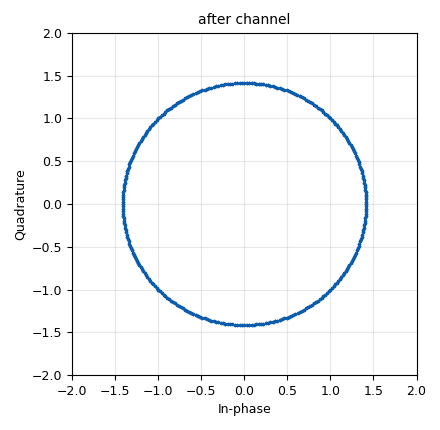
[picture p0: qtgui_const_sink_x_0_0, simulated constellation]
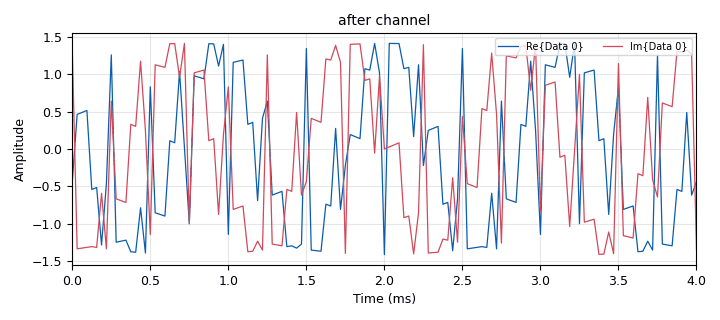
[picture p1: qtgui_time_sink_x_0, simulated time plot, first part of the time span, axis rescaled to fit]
<?xml version='1.0' encoding='utf-8'?>
<?grc format='1' created='3.7.11'?>
<flow_graph>
<block>
<key>options</key>
<param><key>id</key><value>top_block</value></param>
<param><key>generate_options</key><value>qt_gui</value></param>
</block>
<block>
<key>variable</key>
<param><key>id</key><value>N</value></param>
<param><key>value</key><value>2</value></param>
</block>
<block>
<key>variable_qtgui_range</key>
<param><key>id</key><value>f_offset</value></param>
<param><key>value</key><value>100</value></param>
<param><key>orient</key><value>Qt.Horizontal</value></param>
<param><key>start</key><value>100</value></param>
<param><key>step</key><value>1</value></param>
<param><key>stop</key><value>2500</value></param>
</block>
<block>
<key>variable_constellation</key>
<param><key>id</key><value>psk8_const</value></param>
<param><key>const_points</key><value>[1.00000 + 0.00000j, 0.70711 + 0.70711j,   0.00000 + 1.00000j, -0.70711 + 0.70711j , -1.00000 + 0.00000j , -0.70711 - 0.70711j, -0.00000 - 1.00000j,  0.70711 - 0.70711j]</value></param>
<param><key>type</key><value>calcdist</value></param>
<param><key>dims</key><value>1</value></param>
<param><key>rot_sym</key><value>8</value></param>
<param><key>precision</key><value>8</value></param>
<param><key>sym_map</key><value>[0,1,2,3,4,5,6,7]</value></param>
</block>
<block>
<key>variable</key>
<param><key>id</key><value>samp_rate</value></param>
<param><key>value</key><value>32000</value></param>
</block>
<block>
<key>blocks_char_to_float</key>
<param><key>id</key><value>blocks_char_to_float_0</value></param>
<param><key>scale</key><value>1</value></param>
</block>
<block>
<key>blocks_keep_one_in_n</key>
<param><key>id</key><value>blocks_keep_one_in_n_0</value></param>
<param><key>_enabled</key><value>2</value></param>
<param><key>n</key><value>10</value></param>
<param><key>type</key><value>complex</value></param>
</block>
<block>
<key>blocks_stream_to_vector</key>
<param><key>id</key><value>blocks_stream_to_vector_0</value></param>
<param><key>type</key><value>complex</value></param>
<param><key>num_items</key><value>N</value></param>
</block>
<block>
<key>blocks_throttle</key>
<param><key>id</key><value>blocks_throttle_0</value></param>
<param><key>samples_per_second</key><value>samp_rate</value></param>
<param><key>type</key><value>complex</value></param>
</block>
<block>
<key>blocks_vector_source_x</key>
<param><key>id</key><value>blocks_vector_source_x_0</value></param>
<param><key>type</key><value>byte</value></param>
<param><key>repeat</key><value>True</value></param>
<param><key>vector</key><value>(0,7,1,3,   4,0,0,7)</value></param>
</block>
<block>
<key>blocks_vector_to_stream</key>
<param><key>id</key><value>blocks_vector_to_stream_0</value></param>
<param><key>type</key><value>complex</value></param>
<param><key>num_items</key><value>N</value></param>
</block>
<block>
<key>channels_channel_model</key>
<param><key>id</key><value>channels_channel_model_0</value></param>
<param><key>epsilon</key><value>1.0</value></param>
<param><key>freq_offset</key><value>float(f_offset)/samp_rate</value></param>
<param><key>noise_voltage</key><value>0.0</value></param>
<param><key>seed</key><value>0</value></param>
<param><key>taps</key><value>1+1j</value></param>
</block>
<block>
<key>digital_chunks_to_symbols_xx</key>
<param><key>id</key><value>digital_chunks_to_symbols_xx_0</value></param>
<param><key>dimension</key><value>1</value></param>
<param><key>in_type</key><value>byte</value></param>
<param><key>out_type</key><value>complex</value></param>
<param><key>symbol_table</key><value>[1.00000 + 0.00000j, 0.70711 + 0.70711j,   0.00000 + 1.00000j, -0.70711 + 0.70711j , -1.00000 + 0.00000j , -0.70711 - 0.70711j, -0.00000 - 1.00000j,  0.70711 - 0.70711j]</value></param>
</block>
<block>
<key>digital_constellation_decoder_cb</key>
<param><key>id</key><value>digital_constellation_decoder_cb_0</value></param>
<param><key>constellation</key><value>psk8_const</value></param>
</block>
<block>
<key>digital_diff_decoder_bb</key>
<param><key>id</key><value>digital_diff_decoder_bb_0</value></param>
<param><key>modulus</key><value>8</value></param>
</block>
<block>
<key>digital_diff_encoder_bb</key>
<param><key>id</key><value>digital_diff_encoder_bb_0</value></param>
<param><key>modulus</key><value>8</value></param>
</block>
<block>
<key>import</key>
<param><key>id</key><value>import_0</value></param>
<param><key>import</key><value>from math import pi</value></param>
</block>
<block>
<key>mthpower_m_th_power_fc_cc</key>
<param><key>id</key><value>mthpower_m_th_power_fc_cc_0</value></param>
<param><key>M</key><value>8</value></param>
<param><key>N</key><value>1000</value></param>
<param><key>symbol_rate</key><value>samp_rate</value></param>
</block>
<block>
<key>mthpower_m_th_power_v1_cc</key>
<param><key>id</key><value>mthpower_m_th_power_v1_cc_0</value></param>
<param><key>N</key><value>N</value></param>
<param><key>phase</key><value>0</value></param>
<param><key>M</key><value>8</value></param>
</block>
<block>
<key>qtgui_const_sink_x</key>
<param><key>id</key><value>qtgui_const_sink_x_0</value></param>
<param><key>name</key><value>"after v1"</value></param>
<param><key>size</key><value>1024</value></param>
<param><key>type</key><value>complex</value></param>
</block>
<block>
<key>qtgui_const_sink_x</key>
<param><key>id</key><value>qtgui_const_sink_x_0_0</value></param>
<param><key>name</key><value>"after channel"</value></param>
<param><key>size</key><value>1024</value></param>
<param><key>type</key><value>complex</value></param>
</block>
<block>
<key>qtgui_time_sink_x</key>
<param><key>id</key><value>qtgui_time_sink_x_0</value></param>
<param><key>color1</key><value>"blue"</value></param>
<param><key>label1</key><value></value></param>
<param><key>color2</key><value>"red"</value></param>
<param><key>label2</key><value></value></param>
<param><key>name</key><value>"after channel"</value></param>
<param><key>size</key><value>1024</value></param>
<param><key>srate</key><value>samp_rate</value></param>
<param><key>type</key><value>complex</value></param>
</block>
<block>
<key>qtgui_time_sink_x</key>
<param><key>id</key><value>qtgui_time_sink_x_1</value></param>
<param><key>autoscale</key><value>True</value></param>
<param><key>color1</key><value>"blue"</value></param>
<param><key>label1</key><value></value></param>
<param><key>size</key><value>16</value></param>
<param><key>srate</key><value>samp_rate</value></param>
<param><key>stemplot</key><value>True</value></param>
<param><key>type</key><value>float</value></param>
</block>
<block>
<key>qtgui_time_sink_x</key>
<param><key>id</key><value>qtgui_time_sink_x_2</value></param>
<param><key>color1</key><value>"blue"</value></param>
<param><key>label1</key><value></value></param>
<param><key>name</key><value>"f est"</value></param>
<param><key>size</key><value>1024</value></param>
<param><key>srate</key><value>samp_rate</value></param>
<param><key>type</key><value>float</value></param>
</block>
<block>
<key>root_raised_cosine_filter</key>
<param><key>id</key><value>root_raised_cosine_filter_0</value></param>
<param><key>alpha</key><value>0.8</value></param>
<param><key>decim</key><value>1</value></param>
<param><key>_enabled</key><value>2</value></param>
<param><key>type</key><value>fir_filter_ccf</value></param>
<param><key>gain</key><value>1</value></param>
<param><key>ntaps</key><value>880</value></param>
<param><key>samp_rate</key><value>samp_rate</value></param>
<param><key>sym_rate</key><value>samp_rate/10</value></param>
</block>
<connection><source_block_id>blocks_char_to_float_0</source_block_id><sink_block_id>qtgui_time_sink_x_1</sink_block_id><source_key>0</source_key><sink_key>0</sink_key></connection>
<connection><source_block_id>blocks_keep_one_in_n_0</source_block_id><sink_block_id>mthpower_m_th_power_fc_cc_0</sink_block_id><source_key>0</source_key><sink_key>0</sink_key></connection>
<connection><source_block_id>blocks_stream_to_vector_0</source_block_id><sink_block_id>mthpower_m_th_power_v1_cc_0</sink_block_id><source_key>0</source_key><sink_key>0</sink_key></connection>
<connection><source_block_id>blocks_throttle_0</source_block_id><sink_block_id>channels_channel_model_0</sink_block_id><source_key>0</source_key><sink_key>0</sink_key></connection>
<connection><source_block_id>blocks_vector_source_x_0</source_block_id><sink_block_id>digital_diff_encoder_bb_0</sink_block_id><source_key>0</source_key><sink_key>0</sink_key></connection>
<connection><source_block_id>blocks_vector_to_stream_0</source_block_id><sink_block_id>digital_constellation_decoder_cb_0</sink_block_id><source_key>0</source_key><sink_key>0</sink_key></connection>
<connection><source_block_id>blocks_vector_to_stream_0</source_block_id><sink_block_id>qtgui_const_sink_x_0</sink_block_id><source_key>0</source_key><sink_key>0</sink_key></connection>
<connection><source_block_id>channels_channel_model_0</source_block_id><sink_block_id>root_raised_cosine_filter_0</sink_block_id><source_key>0</source_key><sink_key>0</sink_key></connection>
<connection><source_block_id>digital_chunks_to_symbols_xx_0</source_block_id><sink_block_id>blocks_throttle_0</sink_block_id><source_key>0</source_key><sink_key>0</sink_key></connection>
<connection><source_block_id>digital_constellation_decoder_cb_0</source_block_id><sink_block_id>digital_diff_decoder_bb_0</sink_block_id><source_key>0</source_key><sink_key>0</sink_key></connection>
<connection><source_block_id>digital_diff_decoder_bb_0</source_block_id><sink_block_id>blocks_char_to_float_0</sink_block_id><source_key>0</source_key><sink_key>0</sink_key></connection>
<connection><source_block_id>digital_diff_encoder_bb_0</source_block_id><sink_block_id>digital_chunks_to_symbols_xx_0</sink_block_id><source_key>0</source_key><sink_key>0</sink_key></connection>
<connection><source_block_id>mthpower_m_th_power_fc_cc_0</source_block_id><sink_block_id>qtgui_time_sink_x_2</sink_block_id><source_key>1</source_key><sink_key>0</sink_key></connection>
<connection><source_block_id>mthpower_m_th_power_fc_cc_0</source_block_id><sink_block_id>blocks_stream_to_vector_0</sink_block_id><source_key>0</source_key><sink_key>0</sink_key></connection>
<connection><source_block_id>mthpower_m_th_power_v1_cc_0</source_block_id><sink_block_id>blocks_vector_to_stream_0</sink_block_id><source_key>0</source_key><sink_key>0</sink_key></connection>
<connection><source_block_id>root_raised_cosine_filter_0</source_block_id><sink_block_id>blocks_keep_one_in_n_0</sink_block_id><source_key>0</source_key><sink_key>0</sink_key></connection>
<connection><source_block_id>root_raised_cosine_filter_0</source_block_id><sink_block_id>qtgui_const_sink_x_0_0</sink_block_id><source_key>0</source_key><sink_key>0</sink_key></connection>
<connection><source_block_id>root_raised_cosine_filter_0</source_block_id><sink_block_id>qtgui_time_sink_x_0</sink_block_id><source_key>0</source_key><sink_key>0</sink_key></connection>
</flow_graph>
